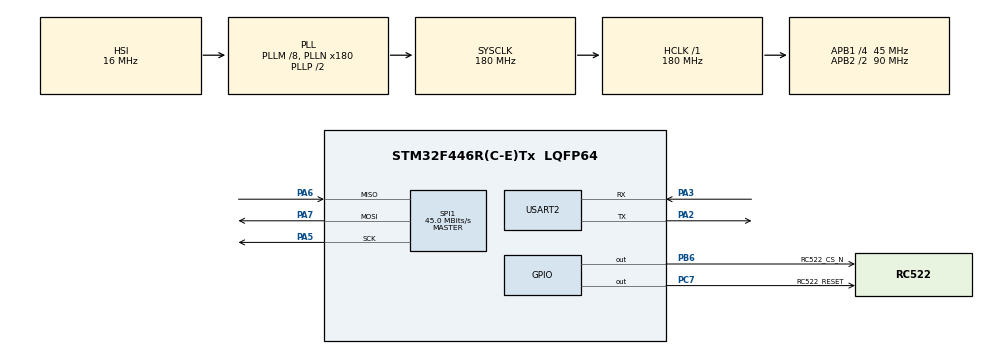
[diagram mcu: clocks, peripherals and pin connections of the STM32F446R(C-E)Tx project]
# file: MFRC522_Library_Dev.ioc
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Mcu.Family=STM32F4
Mcu.Name=STM32F446R(C-E)Tx
Mcu.Package=LQFP64
NVIC.PriorityGroup=NVIC_PRIORITYGROUP_4
PA2.Mode=Asynchronous
PA2.Signal=USART2_TX
PA3.Mode=Asynchronous
PA3.Signal=USART2_RX
PA5.Mode=Full_Duplex_Master
PA5.Signal=SPI1_SCK
PA6.Mode=Full_Duplex_Master
PA6.Signal=SPI1_MISO
PA7.Mode=Full_Duplex_Master
PA7.Signal=SPI1_MOSI
PB6.GPIO_Label=RC522_CS_N
PB6.Signal=GPIO_Output
PC7.GPIO_Label=RC522_RESET
PC7.Signal=GPIO_Output
ProjectManager.HeapSize=0x200
ProjectManager.StackSize=0x400
ProjectManager.TargetToolchain=STM32CubeIDE
RCC.AHBFreq_Value=180000000
RCC.APB1CLKDivider=RCC_HCLK_DIV4
RCC.APB1Freq_Value=45000000
RCC.APB1TimFreq_Value=90000000
RCC.APB2CLKDivider=RCC_HCLK_DIV2
RCC.APB2Freq_Value=90000000
RCC.APB2TimFreq_Value=180000000
RCC.CortexFreq_Value=180000000
RCC.HCLKFreq_Value=180000000
RCC.PLLM=8
RCC.PLLN=180
RCC.SYSCLKFreq_VALUE=180000000
RCC.SYSCLKSource=RCC_SYSCLKSOURCE_PLLCLK
RCC.USBFreq_Value=180000000
RCC.VCOOutputFreq_Value=360000000
SPI1.CalculateBaudRate=45.0 MBits/s
SPI1.Direction=SPI_DIRECTION_2LINES
SPI1.Mode=SPI_MODE_MASTER
SPI1.VirtualType=VM_MASTER
USART2.VirtualMode=VM_ASYNC
board=custom

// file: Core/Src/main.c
/* USER CODE BEGIN Header */
/**
 ******************************************************************************
 * @file           : main.c
 * @brief          : Main program body
 ******************************************************************************
 * @attention
 *
 * Copyright (c) 2024 STMicroelectronics.
 * All rights reserved.
 *
 * This software is licensed under terms that can be found in the LICENSE file
 * in the root directory of this software component.
 * If no LICENSE file comes with this software, it is provided AS-IS.
 *
 ******************************************************************************
 */
/* USER CODE END Header */
#include "main.h"
#include "spi.h"
#include "usart.h"
#include "gpio.h"

/* USER CODE BEGIN Includes */

#include "MFRC522_Driver.h"
#include "stdio.h"

/* USER CODE END Includes */

void SystemClock_Config(void);
/* USER CODE BEGIN PFP */
int _write(int fd, char*ptr, int len);

/* USER CODE END PFP */

int main(void)
{

	/* MCU Configuration--------------------------------------------------------*/

	/* Reset of all peripherals, Initializes the Flash interface and the Systick. */
	HAL_Init();

	/* Configure the system clock */
	SystemClock_Config();

	/* Initialize all configured peripherals */
	MX_GPIO_Init();
	MX_SPI1_Init();
	MX_USART2_UART_Init();
	/* USER CODE BEGIN 2 */

	PCD_Init();
	printf("MFRC522 Initialized\r\n");

	// Test read and write to a register
	uint8_t version = PCD_ReadRegister(VersionReg);
	printf("MFRC522 Version: 0x%02X\n", version);

	// Expecting a known version value like 0x92 or 0x91 for MFRC522
	if (version == 0x92 || version == 0x91) {
		printf("MFRC522 is detected successfully.\r\n");
	} else {
		printf("MFRC522 detection failed. Check wiring and connections.\r\n");
	}

	/* USER CODE END 2 */

	/* Infinite loop */
	/* USER CODE BEGIN WHILE */
	while (1)
	{
		if (PICC_IsNewCardPresent()) {
			printf("Card detected!\r\n");

			if (PICC_ReadCardSerial()) {
				printf("Card UID: ");
				for (uint8_t i = 0; i < uid.size; i++) {
					printf("%02X ", uid.uidByte[i]);
				}
				printf("\r\n");
			} else {
				printf("Failed to read card UID. Status: %s\r\n", GetStatusCodeName(PICC_Select(&uid, 0)));
			}
		} else {
			printf("No card detected. Waiting...\r\n");
		}
		HAL_Delay(500); // Wait for 500ms before checking again

		/* USER CODE END WHILE */

	}
}

void SystemClock_Config(void)
{
	RCC_OscInitTypeDef RCC_OscInitStruct = {0};
	RCC_ClkInitTypeDef RCC_ClkInitStruct = {0};

	/** Configure the main internal regulator output voltage
	 */
	__HAL_RCC_PWR_CLK_ENABLE();
	__HAL_PWR_VOLTAGESCALING_CONFIG(PWR_REGULATOR_VOLTAGE_SCALE1);

	/** Initializes the RCC Oscillators according to the specified parameters
	 * in the RCC_OscInitTypeDef structure.
	 */
	RCC_OscInitStruct.OscillatorType = RCC_OSCILLATORTYPE_HSI;
	RCC_OscInitStruct.HSIState = RCC_HSI_ON;
	RCC_OscInitStruct.HSICalibrationValue = RCC_HSICALIBRATION_DEFAULT;
	RCC_OscInitStruct.PLL.PLLState = RCC_PLL_ON;
	RCC_OscInitStruct.PLL.PLLSource = RCC_PLLSOURCE_HSI;
	RCC_OscInitStruct.PLL.PLLM = 8;
	RCC_OscInitStruct.PLL.PLLN = 180;
	RCC_OscInitStruct.PLL.PLLP = RCC_PLLP_DIV2;
	RCC_OscInitStruct.PLL.PLLQ = 2;
	RCC_OscInitStruct.PLL.PLLR = 2;
	if (HAL_RCC_OscConfig(&RCC_OscInitStruct) != HAL_OK)
	{
		Error_Handler();
	}

	/** Activate the Over-Drive mode
	 */
	if (HAL_PWREx_EnableOverDrive() != HAL_OK)
	{
		Error_Handler();
	}

	/** Initializes the CPU, AHB and APB buses clocks
	 */
	RCC_ClkInitStruct.ClockType = RCC_CLOCKTYPE_HCLK|RCC_CLOCKTYPE_SYSCLK
			|RCC_CLOCKTYPE_PCLK1|RCC_CLOCKTYPE_PCLK2;
	RCC_ClkInitStruct.SYSCLKSource = RCC_SYSCLKSOURCE_PLLCLK;
	RCC_ClkInitStruct.AHBCLKDivider = RCC_SYSCLK_DIV1;
	RCC_ClkInitStruct.APB1CLKDivider = RCC_HCLK_DIV4;
	RCC_ClkInitStruct.APB2CLKDivider = RCC_HCLK_DIV2;

	if (HAL_RCC_ClockConfig(&RCC_ClkInitStruct, FLASH_LATENCY_5) != HAL_OK)
	{
		Error_Handler();
	}
}

/* USER CODE BEGIN 4 */

int _write(int fd, char*ptr, int len)
{
	if(HAL_UART_Transmit(&huart2, (uint8_t *)ptr, len, HAL_MAX_DELAY)== HAL_OK)
		return len;
	else
		return -1;
}

/* USER CODE END 4 */

void Error_Handler(void)
{
	__disable_irq();
	while (1)
	{
	}
}
